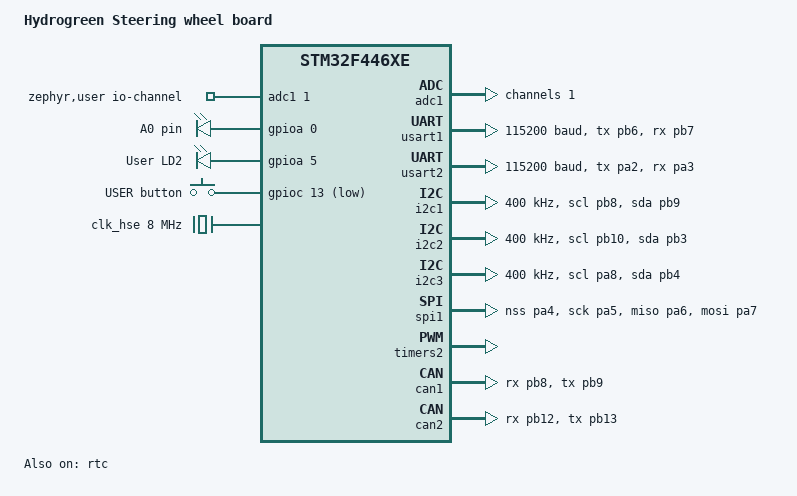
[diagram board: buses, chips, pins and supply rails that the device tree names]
/dts-v1/;
#include <st/f4/stm32f446Xe.dtsi>
#include <st/f4/stm32f446r(c-e)tx-pinctrl.dtsi>

/ {
	model = "Hydrogreen Steering wheel board";
	compatible = "hydrogreen,steering-wheel";

	chosen {
		zephyr,console = &usart2;
		zephyr,shell-uart = &usart2;
		zephyr,sram = &sram0;
		zephyr,flash = &flash0;
		zephyr,canbus = &can2;
	};

	zephyr,user {
		io-channels = <&adc1 1>;
	};

	leds {
		compatible = "gpio-leds";
		led_1: led_1 {
			gpios = <&gpioa 0 GPIO_ACTIVE_HIGH>;
			label = "A0 pin";
		};

		led_2: led_2 {
			gpios = <&gpioa 5 GPIO_ACTIVE_HIGH>;
			label = "User LD2";
		};
	};

	buttons {
		compatible = "gpio-keys";
		btn_0: btn_0 {
			label = "USER button";
			gpios = <&gpioc 13 GPIO_ACTIVE_LOW>;
		};
	};

	aliases {
		ledred = &led_1;
		ledgreen = &led_2;
		button = &btn_0;
	};
};

&adc1 {
	status = "okay";
	#address-cells = <1>;
	#size-cells = <0>;

	// Required properties are located in zephyr/dts/bindings/adc/st,stm32-adc.yaml
	st,adc-clock-source = "SYNC";
	st,adc-prescaler = <2>;

	channel@1 {
		reg = <1>;
		zephyr,gain = "ADC_GAIN_1";
		zephyr,reference = "ADC_REF_INTERNAL";
		zephyr,acquisition-time = <ADC_ACQ_TIME_DEFAULT>;
		zephyr,resolution = <12>;
	};
};

&clk_lsi {
	status = "okay";
};

&clk_hse {
	hse-bypass;
	clock-frequency = <DT_FREQ_M(8)>; /* STLink 8MHz clock */
	status = "okay";
};

&pll {
	div-m = <8>;
	mul-n = <384>;
	div-p = <4>;
	div-q = <8>;
	clocks = <&clk_hse>;
	status = "okay";
};

&rcc {
	clocks = <&pll>;
	clock-frequency = <DT_FREQ_M(96)>;
	ahb-prescaler = <1>;
	apb1-prescaler = <2>;
	apb2-prescaler = <1>;
};

&usart1 {
	pinctrl-0 = <&usart1_tx_pb6 &usart1_rx_pb7>;
	pinctrl-names = "default";
	current-speed = <115200>;
	status = "okay";
};

&usart2 {
	pinctrl-0 = <&usart2_tx_pa2 &usart2_rx_pa3>;
	pinctrl-names = "default";
	current-speed = <115200>;
	status = "okay";
};

&i2c1 {
	pinctrl-0 = <&i2c1_scl_pb8 &i2c1_sda_pb9>;
	pinctrl-names = "default";
	status = "okay";
	clock-frequency = <I2C_BITRATE_FAST>;
};

&i2c2 {
	pinctrl-0 = <&i2c2_scl_pb10 &i2c2_sda_pb3>;
	pinctrl-names = "default";
	status = "okay";
	clock-frequency = <I2C_BITRATE_FAST>;
};

&i2c3 {
	pinctrl-0 = <&i2c3_scl_pa8 &i2c3_sda_pb4>;
	pinctrl-names = "default";
	status = "okay";
	clock-frequency = <I2C_BITRATE_FAST>;
};

&spi1 {
	pinctrl-0 = <&spi1_nss_pa4 &spi1_sck_pa5
		     &spi1_miso_pa6 &spi1_mosi_pa7>;
	pinctrl-names = "default";
	status = "okay";
};

&timers2 {
	status = "okay";

	pwm2: pwm {
		status = "okay";
		pinctrl-0 = <&tim2_ch1_pa5>;
		pinctrl-names = "default";
	};
};

&rtc {
	clocks = <&rcc STM32_CLOCK_BUS_APB1 0x10000000>,
		 <&rcc STM32_SRC_LSI RTC_SEL(2)>;
	status = "okay";
};

&backup_sram {
	status = "okay";
};

&can1 {
	/* CAUTION: PB8 and PB9 may conflict with same pins of I2C1 */
	pinctrl-0 = <&can1_rx_pb8 &can1_tx_pb9>;
	pinctrl-names = "default";
	status = "okay";
};

&can2 {
	pinctrl-0 = <&can2_rx_pb12 &can2_tx_pb13>;
	pinctrl-names = "default";
	status = "okay";
};

&flash0 {

	partitions {
		compatible = "fixed-partitions";
		#address-cells = <1>;
		#size-cells = <1>;

		boot_partition: partition@0 {
			label = "mcuboot";
			reg = <0x00000000 DT_SIZE_K(64)>;
			read-only;
		};

		/*
		 * The flash starting at 0x00010000 and ending at
		 * 0x0001ffff (sectors 16-31) is reserved for use
		 * by the application.
		 */
		storage_partition: partition@10000 {
			label = "storage";
			reg = <0x00010000 DT_SIZE_K(64)>;
		};

		slot0_partition: partition@20000 {
			label = "image-0";
			reg = <0x00020000 DT_SIZE_K(128)>;
		};
		slot1_partition: partition@40000 {
			label = "image-1";
			reg = <0x00040000 DT_SIZE_K(128)>;
		};
		scratch_partition: partition@60000 {
			label = "image-scratch";
			reg = <0x00060000 DT_SIZE_K(128)>;
		};
	};
};
